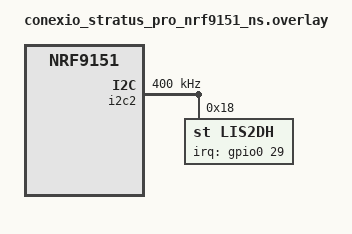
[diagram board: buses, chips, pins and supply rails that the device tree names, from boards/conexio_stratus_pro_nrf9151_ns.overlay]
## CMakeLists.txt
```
#
# Copyright (c) 2025 Conexio Technologies, Inc
#
# SPDX-License-Identifier: Apache-2.0
#

cmake_minimum_required(VERSION 3.20.0)
find_package(Zephyr REQUIRED HINTS $ENV{ZEPHYR_BASE})
project(accelerometer)

FILE(GLOB app_sources src/*.c)
target_sources(app PRIVATE ${app_sources})
```

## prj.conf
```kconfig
#
# Copyright (c) 2025 Conexio Technologies, Inc
#
# SPDX-License-Identifier: Apache-2.0
#

CONFIG_STDOUT_CONSOLE=y

# Adding I2C
CONFIG_I2C=y

# Add the accelerometer
CONFIG_SENSOR=y
CONFIG_LIS2DH=y
CONFIG_CBPRINTF_FP_SUPPORT=y

# newlibc for printing floats
CONFIG_NEWLIB_LIBC=y
CONFIG_NEWLIB_LIBC_FLOAT_PRINTF=y

# Enable Zephyr application to be booted by MCUboot
CONFIG_BOOTLOADER_MCUBOOT=y
```

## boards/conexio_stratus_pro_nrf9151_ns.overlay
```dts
/*
 * Copyright (c) 2026 Conexio Technologies, Inc
 *
 * SPDX-License-Identifier: Apache-2.0
 */

/*
 * Stratus Pro nRF9151 device overlay configuration for LIS2DH sensor connected to QWIIC port
 *
 */
&i2c2 {
	status = "okay";
	clock-frequency = <I2C_BITRATE_FAST>;
	lis2dh: lis2dh@18 {
		compatible = "st,lis2dh";
		reg = <0x18>;
		irq-gpios = <&gpio0 29 GPIO_ACTIVE_HIGH>;
		disconnect-sdo-sa0-pull-up;
	};
};
```

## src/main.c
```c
/*
 * Copyright (c) 2019 Nordic Semiconductor ASA
 * Copyright (c) 2026 Conexio Technologies, Inc
 *
 * SPDX-License-Identifier: Apache-2.0
 */

#include <stdio.h>
#include <zephyr/kernel.h>
#include <zephyr/device.h>
#include <zephyr/drivers/sensor.h>

static void fetch_and_display(const struct device *sensor)
{
	static unsigned int count;
	struct sensor_value accel[3];
	int rc = sensor_sample_fetch(sensor);

	++count;
	if (rc == -EBADMSG) {
		rc = 0;
	}
	if (rc == 0) {
		rc = sensor_channel_get(sensor,
					SENSOR_CHAN_ACCEL_XYZ,
					accel);
	}
	if (rc < 0) {
		printf("ERROR: Update failed: %d\n", rc);
	} else {
		printf("#%u, uptime: %u ms, x: %f, y: %f, z: %f\n",
		       count, k_uptime_get_32(),
		       sensor_value_to_double(&accel[0]),
		       sensor_value_to_double(&accel[1]),
		       sensor_value_to_double(&accel[2]));
	}
}

int main(void)
{
	printf("LIS2DH Accelerometer sensor example for %s\n", CONFIG_BOARD);
	const struct device *sensor = DEVICE_DT_GET_ANY(st_lis2dh);

	if (sensor == NULL) {
		printf("No device found\n");
		return 0;
	}
	if (!device_is_ready(sensor)) {
		printf("Device %s is not ready\n", sensor->name);
		return 0;
	}

	while (true) {
		fetch_and_display(sensor);
		k_sleep(K_MSEC(2000));
	}
}
```
